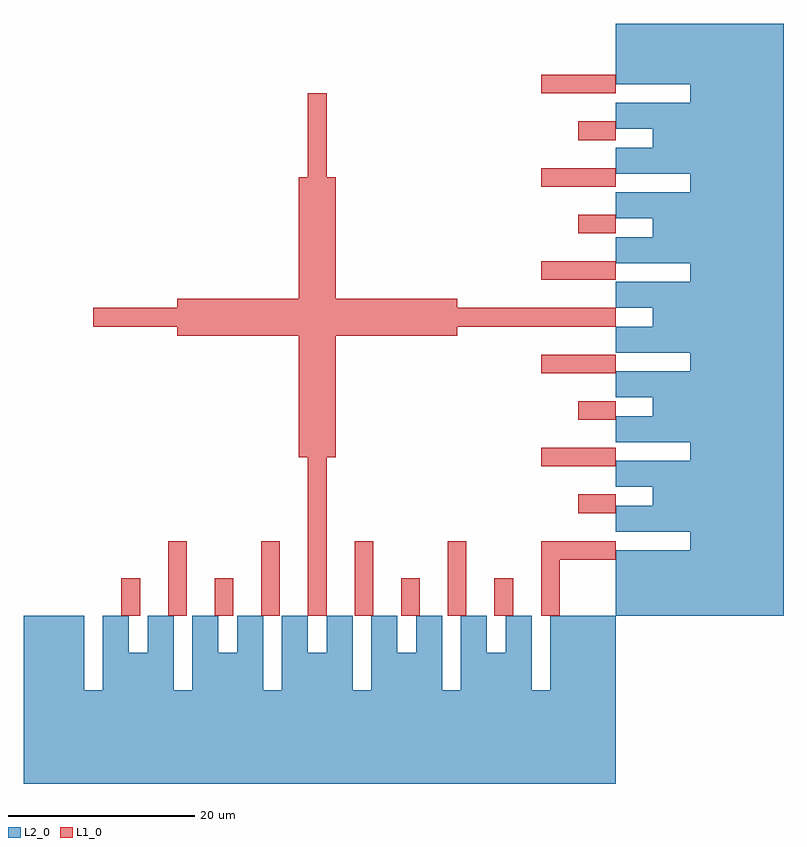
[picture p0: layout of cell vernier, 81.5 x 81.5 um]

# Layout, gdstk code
import gdstk
lib = gdstk.Library(unit=1e-6, precision=1e-09)
def R(c, l, rs):  # rectangles x0, y0, x1, y1
    for r in rs: c.add(gdstk.rectangle(r[:2], r[2:], *l))
def A(c, l, x, y, w, h, nx, ny, dx, dy):  # array of equal rectangles
    R(c, l, [(x+i*dx, y+j*dy, x+i*dx+w, y+j*dy+h) for i in range(nx) for j in range(ny)])
L1_0 = (1, 0)
L2_0 = (2, 0)

vernier = lib.new_cell('vernier')
A(vernier, L1_0, -25, -29, 2, 4, 5, 1, 10, 0)
A(vernier, L1_0, -20, -29, 2, 8, 5, 1, 10, 0)
A(vernier, L1_0, 20, -23, 8, 2, 1, 6, 0, 10)
A(vernier, L1_0, 24, -18, 4, 2, 1, 5, 0, 10)
R(vernier, L1_0, [(-5,-25,-3,3), (-6,-12,-2,18), (-19,1,11,5), (-28,2,28,4), (-5,3,-3,27)])
A(vernier, L2_0, -29, -47, 2, 10, 6, 1, 9.6, 0)
A(vernier, L2_0, -27, -47, 2.8, 18, 10, 1, 4.8, 0)
A(vernier, L2_0, -24.2, -47, 2, 14, 5, 1, 9.6, 0)
A(vernier, L2_0, 36, -22, 10, 2, 1, 6, 0, 9.6)
A(vernier, L2_0, 28, -20, 18, 2.8, 1, 10, 0, 4.8)
A(vernier, L2_0, 32, -17.2, 14, 2, 1, 5, 0, 9.6)
R(vernier, L2_0, [(-35.5,-47,-29,-29), (21,-47,28,-29), (28,-29,46,-22), (28,28,46,34.5)])

lib.write_gds('vernier.gds')
